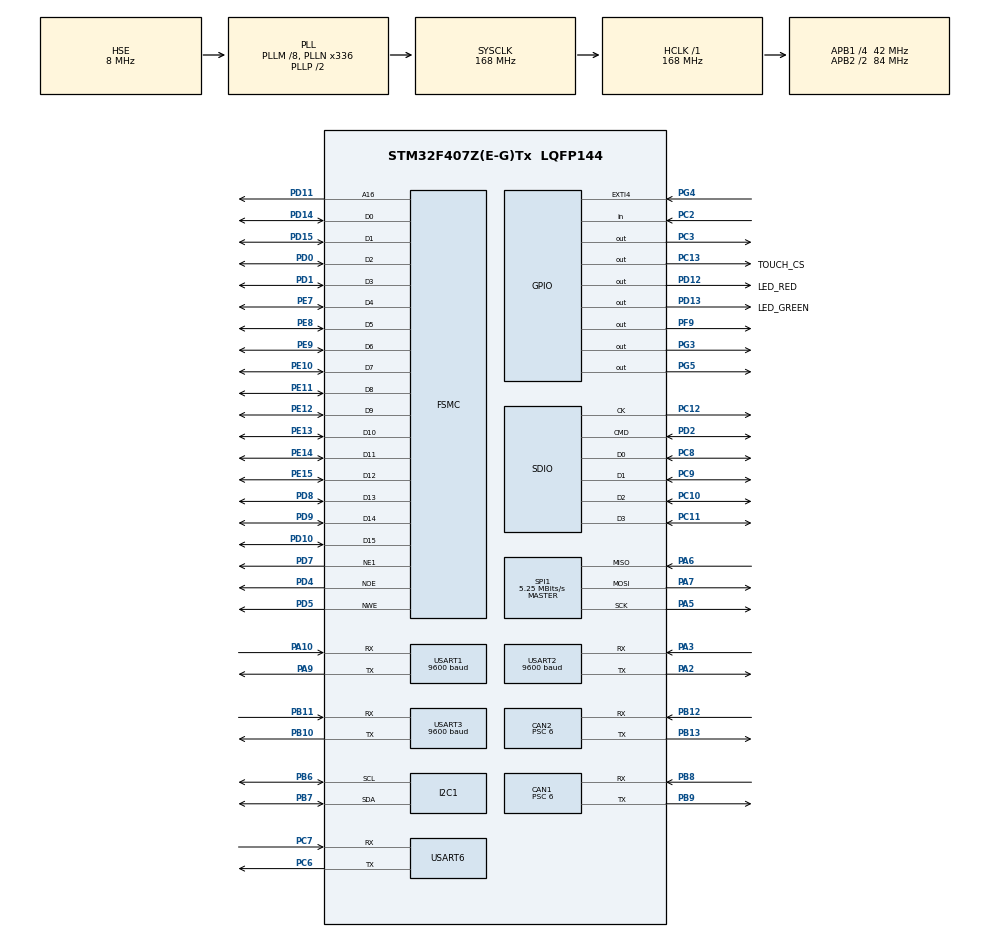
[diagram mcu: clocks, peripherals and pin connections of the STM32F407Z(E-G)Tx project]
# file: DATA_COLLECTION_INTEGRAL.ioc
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CAN1.AWUM=DISABLE
CAN1.BS1=CAN_BS1_12TQ
CAN1.CalculateBaudRate=500000
CAN1.CalculateTimeBit=2000
CAN1.CalculateTimeQuantum=142.85714285714286
CAN1.Prescaler=6
CAN2.AWUM=DISABLE
CAN2.BS1=CAN_BS1_12TQ
CAN2.CalculateBaudRate=500000
CAN2.CalculateTimeBit=2000
CAN2.CalculateTimeQuantum=142.85714285714286
CAN2.Prescaler=6
Dma.Request0=USART1_RX
Dma.Request1=USART1_TX
Dma.Request2=USART3_RX
Dma.Request3=USART3_TX
Dma.Request4=SPI1_RX
Dma.Request5=SPI1_TX
Dma.Request6=SDIO_RX
Dma.Request7=SDIO_TX
Dma.SDIO_RX.6.Direction=DMA_PERIPH_TO_MEMORY
Dma.SDIO_RX.6.FIFOMode=DMA_FIFOMODE_ENABLE
Dma.SDIO_RX.6.FIFOThreshold=DMA_FIFO_THRESHOLD_FULL
Dma.SDIO_RX.6.Instance=DMA2_Stream6
Dma.SDIO_RX.6.MemBurst=DMA_MBURST_INC4
Dma.SDIO_RX.6.MemDataAlignment=DMA_MDATAALIGN_WORD
Dma.SDIO_RX.6.MemInc=DMA_MINC_ENABLE
Dma.SDIO_RX.6.Mode=DMA_PFCTRL
Dma.SDIO_RX.6.PeriphBurst=DMA_PBURST_INC4
Dma.SDIO_RX.6.PeriphDataAlignment=DMA_PDATAALIGN_WORD
Dma.SDIO_RX.6.PeriphInc=DMA_PINC_DISABLE
Dma.SDIO_RX.6.Priority=DMA_PRIORITY_VERY_HIGH
Dma.SDIO_TX.7.Direction=DMA_MEMORY_TO_PERIPH
Dma.SDIO_TX.7.FIFOMode=DMA_FIFOMODE_ENABLE
Dma.SDIO_TX.7.FIFOThreshold=DMA_FIFO_THRESHOLD_FULL
Dma.SDIO_TX.7.Instance=DMA2_Stream3
Dma.SDIO_TX.7.MemBurst=DMA_MBURST_INC4
Dma.SDIO_TX.7.MemDataAlignment=DMA_MDATAALIGN_WORD
Dma.SDIO_TX.7.MemInc=DMA_MINC_ENABLE
Dma.SDIO_TX.7.Mode=DMA_PFCTRL
Dma.SDIO_TX.7.PeriphBurst=DMA_PBURST_INC4
Dma.SDIO_TX.7.PeriphDataAlignment=DMA_PDATAALIGN_WORD
Dma.SDIO_TX.7.PeriphInc=DMA_PINC_DISABLE
Dma.SDIO_TX.7.Priority=DMA_PRIORITY_VERY_HIGH
Dma.SPI1_RX.4.Direction=DMA_PERIPH_TO_MEMORY
Dma.SPI1_RX.4.FIFOMode=DMA_FIFOMODE_DISABLE
Dma.SPI1_RX.4.Instance=DMA2_Stream0
Dma.SPI1_RX.4.MemDataAlignment=DMA_MDATAALIGN_BYTE
Dma.SPI1_RX.4.MemInc=DMA_MINC_ENABLE
Dma.SPI1_RX.4.Mode=DMA_CIRCULAR
Dma.SPI1_RX.4.PeriphDataAlignment=DMA_PDATAALIGN_BYTE
Dma.SPI1_RX.4.PeriphInc=DMA_PINC_DISABLE
Dma.SPI1_RX.4.Priority=DMA_PRIORITY_LOW
Dma.SPI1_TX.5.Direction=DMA_MEMORY_TO_PERIPH
Dma.SPI1_TX.5.FIFOMode=DMA_FIFOMODE_DISABLE
Dma.SPI1_TX.5.Instance=DMA2_Stream5
Dma.SPI1_TX.5.MemDataAlignment=DMA_MDATAALIGN_BYTE
Dma.SPI1_TX.5.MemInc=DMA_MINC_ENABLE
Dma.SPI1_TX.5.Mode=DMA_NORMAL
Dma.SPI1_TX.5.PeriphDataAlignment=DMA_PDATAALIGN_BYTE
Dma.SPI1_TX.5.PeriphInc=DMA_PINC_DISABLE
Dma.SPI1_TX.5.Priority=DMA_PRIORITY_LOW
Dma.USART1_RX.0.Direction=DMA_PERIPH_TO_MEMORY
Dma.USART1_RX.0.FIFOMode=DMA_FIFOMODE_DISABLE
Dma.USART1_RX.0.Instance=DMA2_Stream2
Dma.USART1_RX.0.MemDataAlignment=DMA_MDATAALIGN_BYTE
Dma.USART1_RX.0.MemInc=DMA_MINC_ENABLE
Dma.USART1_RX.0.Mode=DMA_CIRCULAR
Dma.USART1_RX.0.PeriphDataAlignment=DMA_PDATAALIGN_BYTE
Dma.USART1_RX.0.PeriphInc=DMA_PINC_DISABLE
Dma.USART1_RX.0.Priority=DMA_PRIORITY_LOW
Dma.USART1_TX.1.Direction=DMA_MEMORY_TO_PERIPH
Dma.USART1_TX.1.FIFOMode=DMA_FIFOMODE_DISABLE
Dma.USART1_TX.1.Instance=DMA2_Stream7
Dma.USART1_TX.1.MemDataAlignment=DMA_MDATAALIGN_BYTE
Dma.USART1_TX.1.MemInc=DMA_MINC_ENABLE
Dma.USART1_TX.1.Mode=DMA_NORMAL
Dma.USART1_TX.1.PeriphDataAlignment=DMA_PDATAALIGN_BYTE
Dma.USART1_TX.1.PeriphInc=DMA_PINC_DISABLE
Dma.USART1_TX.1.Priority=DMA_PRIORITY_LOW
Dma.USART3_RX.2.Direction=DMA_PERIPH_TO_MEMORY
Dma.USART3_RX.2.FIFOMode=DMA_FIFOMODE_DISABLE
Dma.USART3_RX.2.Instance=DMA1_Stream1
Dma.USART3_RX.2.MemDataAlignment=DMA_MDATAALIGN_BYTE
Dma.USART3_RX.2.MemInc=DMA_MINC_ENABLE
Dma.USART3_RX.2.Mode=DMA_CIRCULAR
Dma.USART3_RX.2.PeriphDataAlignment=DMA_PDATAALIGN_BYTE
Dma.USART3_RX.2.PeriphInc=DMA_PINC_DISABLE
Dma.USART3_RX.2.Priority=DMA_PRIORITY_LOW
Dma.USART3_TX.3.Direction=DMA_MEMORY_TO_PERIPH
Dma.USART3_TX.3.FIFOMode=DMA_FIFOMODE_DISABLE
Dma.USART3_TX.3.Instance=DMA1_Stream3
Dma.USART3_TX.3.MemDataAlignment=DMA_MDATAALIGN_BYTE
Dma.USART3_TX.3.MemInc=DMA_MINC_ENABLE
Dma.USART3_TX.3.Mode=DMA_NORMAL
Dma.USART3_TX.3.PeriphDataAlignment=DMA_PDATAALIGN_BYTE
Dma.USART3_TX.3.PeriphInc=DMA_PINC_DISABLE
Dma.USART3_TX.3.Priority=DMA_PRIORITY_LOW
FREERTOS.Tasks01=defaultTask,24,1024,StartDefaultTask,Default,NULL,Dynamic,NULL,NULL
FREERTOS.configTOTAL_HEAP_SIZE=32768
FREERTOS.configUSE_NEWLIB_REENTRANT=1
FSMC.AddressSetupTime1=15
FSMC.BusTurnAroundDuration1=0
FSMC.DataSetupTime1=60
FSMC.ExtendedAddressSetupTime1=5
FSMC.ExtendedDataSetupTime1=15
FSMC.ExtendedMode1=FSMC_EXTENDED_MODE_ENABLE
Mcu.Family=STM32F4
Mcu.Name=STM32F407Z(E-G)Tx
Mcu.Package=LQFP144
NVIC.CAN1_RX0_IRQn=true\:5\:0\:false\:false\:true\:true\:true\:true\:true
NVIC.CAN1_RX1_IRQn=true\:5\:0\:false\:false\:true\:true\:true\:true\:true
NVIC.CAN1_SCE_IRQn=true\:5\:0\:false\:false\:true\:true\:true\:true\:true
NVIC.CAN2_RX0_IRQn=true\:5\:0\:false\:false\:true\:true\:true\:true\:true
NVIC.CAN2_RX1_IRQn=true\:5\:0\:false\:false\:true\:true\:true\:true\:true
NVIC.CAN2_SCE_IRQn=true\:5\:0\:false\:false\:true\:true\:true\:true\:true
NVIC.DMA1_Stream1_IRQn=true\:5\:0\:false\:false\:true\:true\:false\:true\:true
NVIC.DMA1_Stream3_IRQn=true\:5\:0\:false\:false\:true\:true\:false\:true\:true
NVIC.DMA2_Stream0_IRQn=true\:5\:0\:false\:false\:true\:false\:false\:true\:true
NVIC.DMA2_Stream2_IRQn=true\:5\:0\:false\:false\:true\:true\:false\:true\:true
NVIC.DMA2_Stream3_IRQn=true\:5\:0\:false\:false\:true\:true\:false\:true\:true
NVIC.DMA2_Stream5_IRQn=true\:5\:0\:false\:false\:true\:true\:false\:true\:true
NVIC.DMA2_Stream6_IRQn=true\:5\:0\:false\:false\:true\:true\:false\:true\:true
NVIC.DMA2_Stream7_IRQn=true\:5\:0\:false\:false\:true\:true\:false\:true\:true
NVIC.PriorityGroup=NVIC_PRIORITYGROUP_4
NVIC.TIM8_UP_TIM13_IRQn=true\:15\:0\:false\:false\:true\:false\:false\:true\:true
NVIC.TimeBase=TIM8_UP_TIM13_IRQn
NVIC.TimeBaseIP=TIM8
NVIC.USART1_IRQn=true\:5\:0\:false\:false\:true\:true\:true\:true\:true
NVIC.USART3_IRQn=true\:5\:0\:false\:false\:true\:true\:true\:true\:true
PA10.GPIO_PuPd=GPIO_PULLUP
PA10.Mode=Asynchronous
PA10.Signal=USART1_RX
PA13.Mode=Serial_Wire
PA13.Signal=SYS_JTMS-SWDIO
PA14.Mode=Serial_Wire
PA14.Signal=SYS_JTCK-SWCLK
PA2.Mode=Asynchronous
PA2.Signal=USART2_TX
PA3.Mode=Asynchronous
PA3.Signal=USART2_RX
PA5.Mode=Full_Duplex_Master
PA5.Signal=SPI1_SCK
PA6.GPIO_PuPd=GPIO_PULLUP
PA6.Mode=Full_Duplex_Master
PA6.Signal=SPI1_MISO
PA7.Mode=Full_Duplex_Master
PA7.Signal=SPI1_MOSI
PA9.Mode=Asynchronous
PA9.Signal=USART1_TX
PB10.Mode=Asynchronous
PB10.Signal=USART3_TX
PB11.GPIO_PuPd=GPIO_PULLUP
PB11.Mode=Asynchronous
PB11.Signal=USART3_RX
PB12.GPIO_PuPd=GPIO_PULLUP
PB12.Mode=CAN_Activate
PB12.Signal=CAN2_RX
PB13.GPIO_PuPd=GPIO_PULLUP
PB13.Mode=CAN_Activate
PB13.Signal=CAN2_TX
PB6.GPIO_Pu=GPIO_PULLUP
PB6.Mode=I2C
PB6.Signal=I2C1_SCL
PB7.GPIO_Pu=GPIO_PULLUP
PB7.Mode=I2C
PB7.Signal=I2C1_SDA
PB8.GPIO_PuPd=GPIO_PULLUP
PB8.Mode=CAN_Activate
PB8.Signal=CAN1_RX
PB9.GPIO_PuPd=GPIO_NOPULL
PB9.Mode=CAN_Activate
PB9.Signal=CAN1_TX
PC10.GPIO_PuPd=GPIO_PULLUP
PC10.Mode=SD_4_bits_Wide_bus
PC10.Signal=SDIO_D2
PC11.GPIO_PuPd=GPIO_PULLUP
PC11.Mode=SD_4_bits_Wide_bus
PC11.Signal=SDIO_D3
PC12.GPIO_PuPd=GPIO_PULLUP
PC12.Mode=SD_4_bits_Wide_bus
PC12.Signal=SDIO_CK
PC13-ANTI_TAMP.GPIO_Label=TOUCH_CS
PC13-ANTI_TAMP.Signal=GPIO_Output
PC14-OSC32_IN.Mode=LSE-External-Oscillator
PC14-OSC32_IN.Signal=RCC_OSC32_IN
PC15-OSC32_OUT.Mode=LSE-External-Oscillator
PC15-OSC32_OUT.Signal=RCC_OSC32_OUT
PC2.Signal=GPIO_Input
PC3.Signal=GPIO_Output
PC6.Mode=Asynchronous
PC6.Signal=USART6_TX
PC7.Mode=Asynchronous
PC7.Signal=USART6_RX
PC8.GPIO_PuPd=GPIO_PULLUP
PC8.Mode=SD_4_bits_Wide_bus
PC8.Signal=SDIO_D0
PC9.GPIO_PuPd=GPIO_PULLUP
PC9.Mode=SD_4_bits_Wide_bus
PC9.Signal=SDIO_D1
PD0.Signal=FSMC_D2_DA2
PD1.Signal=FSMC_D3_DA3
PD10.Signal=FSMC_D15_DA15
PD11.Signal=FSMC_A16_CLE
PD12.GPIO_Label=LED_RED
PD12.Signal=GPIO_Output
PD13.GPIO_Label=LED_GREEN
PD13.Signal=GPIO_Output
PD14.Signal=FSMC_D0_DA0
PD15.Signal=FSMC_D1_DA1
PD2.GPIO_PuPd=GPIO_PULLUP
PD2.Mode=SD_4_bits_Wide_bus
PD2.Signal=SDIO_CMD
PD4.Signal=FSMC_NOE
PD5.Signal=FSMC_NWE
PD7.Mode=NorPsramChipSelect1_1
PD7.Signal=FSMC_NE1
PD8.Signal=FSMC_D13_DA13
PD9.Signal=FSMC_D14_DA14
PE10.Signal=FSMC_D7_DA7
PE11.Signal=FSMC_D8_DA8
PE12.Signal=FSMC_D9_DA9
PE13.Signal=FSMC_D10_DA10
PE14.Signal=FSMC_D11_DA11
PE15.Signal=FSMC_D12_DA12
PE7.Signal=FSMC_D4_DA4
PE8.Signal=FSMC_D5_DA5
PE9.Signal=FSMC_D6_DA6
PF9.GPIO_Speed=GPIO_SPEED_FREQ_MEDIUM
PF9.Signal=GPIO_Output
PG3.Signal=GPIO_Output
PG4.GPIO_PuPd=GPIO_PULLDOWN
PG4.Signal=GPXTI4
PG5.Signal=GPIO_Output
PH0-OSC_IN.Mode=HSE-External-Oscillator
PH0-OSC_IN.Signal=RCC_OSC_IN
PH1-OSC_OUT.Mode=HSE-External-Oscillator
PH1-OSC_OUT.Signal=RCC_OSC_OUT
ProjectManager.HeapSize=0x200
ProjectManager.StackSize=0x400
ProjectManager.TargetToolchain=STM32CubeIDE
RCC.48MHZClocksFreq_Value=48000000
RCC.AHBFreq_Value=168000000
RCC.APB1CLKDivider=RCC_HCLK_DIV4
RCC.APB1Freq_Value=42000000
RCC.APB1TimFreq_Value=84000000
RCC.APB2CLKDivider=RCC_HCLK_DIV2
RCC.APB2Freq_Value=84000000
RCC.APB2TimFreq_Value=168000000
RCC.CortexFreq_Value=168000000
RCC.HCLKFreq_Value=168000000
RCC.HSE_VALUE=8000000
RCC.HSI_VALUE=16000000
RCC.PLLM=8
RCC.PLLN=336
RCC.PLLQ=7
RCC.PLLSourceVirtual=RCC_PLLSOURCE_HSE
RCC.RCC_RTC_Clock_Source=RCC_RTCCLKSOURCE_LSE
RCC.RCC_RTC_Clock_SourceVirtual=RCC_RTCCLKSOURCE_LSE
RCC.SYSCLKFreq_VALUE=168000000
RCC.SYSCLKSource=RCC_SYSCLKSOURCE_PLLCLK
RCC.VCOOutputFreq_Value=336000000
SDIO.ClockDiv=5
SH.FSMC_A16_CLE.0=FSMC_A16,A16_1
SH.FSMC_D0_DA0.0=FSMC_D0,16b-d1
SH.FSMC_D10_DA10.0=FSMC_D10,16b-d1
SH.FSMC_D11_DA11.0=FSMC_D11,16b-d1
SH.FSMC_D12_DA12.0=FSMC_D12,16b-d1
SH.FSMC_D13_DA13.0=FSMC_D13,16b-d1
SH.FSMC_D14_DA14.0=FSMC_D14,16b-d1
SH.FSMC_D15_DA15.0=FSMC_D15,16b-d1
SH.FSMC_D1_DA1.0=FSMC_D1,16b-d1
SH.FSMC_D2_DA2.0=FSMC_D2,16b-d1
SH.FSMC_D3_DA3.0=FSMC_D3,16b-d1
SH.FSMC_D4_DA4.0=FSMC_D4,16b-d1
SH.FSMC_D5_DA5.0=FSMC_D5,16b-d1
SH.FSMC_D6_DA6.0=FSMC_D6,16b-d1
SH.FSMC_D7_DA7.0=FSMC_D7,16b-d1
SH.FSMC_D8_DA8.0=FSMC_D8,16b-d1
SH.FSMC_D9_DA9.0=FSMC_D9,16b-d1
SH.FSMC_NOE.0=FSMC_NOE,Lcd1
SH.FSMC_NWE.0=FSMC_NWE,Lcd1
SPI1.BaudRatePrescaler=SPI_BAUDRATEPRESCALER_16
SPI1.CLKPhase=SPI_PHASE_2EDGE
SPI1.CLKPolarity=SPI_POLARITY_HIGH
SPI1.CalculateBaudRate=5.25 MBits/s
SPI1.Direction=SPI_DIRECTION_2LINES
SPI1.Mode=SPI_MODE_MASTER
SPI1.VirtualType=VM_MASTER
USART1.BaudRate=9600
USART1.VirtualMode=VM_ASYNC
USART2.BaudRate=9600
USART2.VirtualMode=VM_ASYNC
USART3.BaudRate=9600
USART3.VirtualMode=VM_ASYNC
USART6.VirtualMode=VM_ASYNC
VP_FATFS_VS_SDIO.Mode=SDIO
VP_FREERTOS_VS_CMSIS_V2.Mode=CMSIS_V2
VP_RTC_VS_RTC_Activate.Mode=RTC_Enabled
VP_SYS_VS_tim8.Mode=TIM8
board=custom

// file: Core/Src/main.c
/* USER CODE BEGIN Header */
/**
  ******************************************************************************
  * @file           : main.c
  * @brief          : Main program body
  ******************************************************************************
  * @attention
  *
  * Copyright (c) 2025 STMicroelectronics.
  * All rights reserved.
  *
  * This software is licensed under terms that can be found in the LICENSE file
  * in the root directory of this software component.
  * If no LICENSE file comes with this software, it is provided AS-IS.
  *
  ******************************************************************************
  */
/* USER CODE END Header */
#include "main.h"
#include "cmsis_os.h"
#include "can.h"
#include "dma.h"
#include "fatfs.h"
#include "i2c.h"
#include "rtc.h"
#include "sdio.h"
#include "spi.h"
#include "usart.h"
#include "gpio.h"
#include "fsmc.h"

/* USER CODE BEGIN Includes */
#include "../lvgl/lvgl.h"
#include "dashboard_ui.h"
#include "sd_log.h"

/* USER CODE END Includes */

/* USER CODE BEGIN PV */
static lv_display_t * g_lvgl_display;
/* Keep the verified 10-line main-SRAM buffer. The attempted 32-line CCMRAM
 * buffer is intentionally not used until its hardware behavior can be tested. */
static uint16_t g_lvgl_draw_buf[800U * 10U];
volatile uint32_t g_lvgl_flush_count;

/* USER CODE END PV */

void SystemClock_Config(void);
void MX_FREERTOS_Init(void);
/* USER CODE BEGIN PFP */
void SSD1963_Init(void);
void LCD_FillColor(uint16_t color);
void LVGL_Port_Init(void);
void LED_Diag_SetBootStage(uint8_t stage);

/* USER CODE END PFP */

/* USER CODE BEGIN 0 */
#if BOARD_BRINGUP_MINIMAL
#define MX_DMA_Init() ((void)0)
#define MX_CAN1_Init() ((void)0)
#define MX_CAN2_Init() ((void)0)
#define MX_RTC_Init() ((void)0)
#define MX_SPI1_Init() ((void)0)
#define MX_USART1_UART_Init() ((void)0)
#define MX_USART3_UART_Init() ((void)0)
#define MX_FATFS_Init() ((void)0)
#define MX_FSMC_Init() ((void)0)
#define MX_USART2_UART_Init() ((void)0)
#define MX_SDIO_SD_Init() ((void)0)
#define osKernelInitialize() ((void)0)
#define MX_FREERTOS_Init() ((void)0)
#define osKernelStart() ((void)0)

static void BoardBringup_MinimalInit(void)
{
  HAL_GPIO_WritePin(GPIOD, LED_RED_Pin, GPIO_PIN_RESET);
  HAL_GPIO_WritePin(GPIOD, LED_GREEN_Pin, GPIO_PIN_SET);
}

static void BoardBringup_MinimalLoop(void)
{
  static uint8_t led_phase = 0U;

  if(led_phase == 0U) {
    HAL_GPIO_WritePin(GPIOD, LED_RED_Pin, GPIO_PIN_SET);
    HAL_GPIO_WritePin(GPIOD, LED_GREEN_Pin, GPIO_PIN_RESET);
  }
  else {
    HAL_GPIO_WritePin(GPIOD, LED_RED_Pin, GPIO_PIN_RESET);
    HAL_GPIO_WritePin(GPIOD, LED_GREEN_Pin, GPIO_PIN_SET);
  }

  led_phase ^= 1U;
  HAL_Delay(200);
}
#endif

#define LCD_HOR_RES 800
#define LCD_VER_RES 480

// 1. 基础读写宏 (保持 A17 逻辑)
#define LCD_REG  *(__IO uint16_t *)(0x60000000)
#define LCD_DATA *(__IO uint16_t *)(0x60020000)

static void LCD_SetAddressWindow(uint16_t x1, uint16_t y1, uint16_t x2, uint16_t y2)
{
  LCD_REG = 0x2A;
  LCD_DATA = x1 >> 8;
  LCD_DATA = x1 & 0xFF;
  LCD_DATA = x2 >> 8;
  LCD_DATA = x2 & 0xFF;

  LCD_REG = 0x2B;
  LCD_DATA = y1 >> 8;
  LCD_DATA = y1 & 0xFF;
  LCD_DATA = y2 >> 8;
  LCD_DATA = y2 & 0xFF;

  LCD_REG = 0x2C;
}

/* The Debug configuration builds at -O0. Keep the hot FSMC pixel loop locally
 * optimized so UI refresh bandwidth does not depend on the IDE build profile. */
static void __attribute__((optimize("O3")))
LCD_WritePixels(const uint16_t * colors, uint32_t pixel_count)
{
  while(pixel_count >= 8U) {
    LCD_DATA = *colors++;
    LCD_DATA = *colors++;
    LCD_DATA = *colors++;
    LCD_DATA = *colors++;
    LCD_DATA = *colors++;
    LCD_DATA = *colors++;
    LCD_DATA = *colors++;
    LCD_DATA = *colors++;
    pixel_count -= 8U;
  }
  while(pixel_count > 0U) {
    LCD_DATA = *colors++;
    pixel_count--;
  }
}

static void LCD_Backlight_SetEnabled(uint8_t enabled)
{
  HAL_GPIO_WritePin(GPIOF, GPIO_PIN_9,
                   (enabled != 0U) ? GPIO_PIN_SET : GPIO_PIN_RESET);
}

static void LCD_Backlight_On(void)
{
  LCD_Backlight_SetEnabled(1U);
}

static void LCD_Backlight_Off(void)
{
  LCD_Backlight_SetEnabled(0U);
}

static void SSD1963_Reset_Assert(void)
{
  HAL_GPIO_WritePin(SSD1963_RST_GPIO_Port, SSD1963_RST_Pin, GPIO_PIN_RESET);
}

static void SSD1963_Reset_Release(void)
{
  HAL_GPIO_WritePin(SSD1963_RST_GPIO_Port, SSD1963_RST_Pin, GPIO_PIN_SET);
}

static void SSD1963_HardReset(void)
{
  SSD1963_Reset_Assert();
  HAL_Delay(10);
  SSD1963_Reset_Release();
  HAL_Delay(60);
}

void LED_Diag_SetBootStage(uint8_t stage)
{
  switch(stage) {
    case 0:
      HAL_GPIO_WritePin(GPIOD, LED_RED_Pin, GPIO_PIN_SET);
      HAL_GPIO_WritePin(GPIOD, LED_GREEN_Pin, GPIO_PIN_RESET);
      break;

    case 1:
      HAL_GPIO_WritePin(GPIOD, LED_RED_Pin, GPIO_PIN_SET);
      HAL_GPIO_WritePin(GPIOD, LED_GREEN_Pin, GPIO_PIN_SET);
      break;

    case 2:
      HAL_GPIO_WritePin(GPIOD, LED_RED_Pin, GPIO_PIN_RESET);
      HAL_GPIO_WritePin(GPIOD, LED_GREEN_Pin, GPIO_PIN_SET);
      break;

    /* Stages 3/4 come from Dashboard_UI_Init (see dashboard_ui.c). The LED
     * vocabulary has only four patterns, so 3 repeats stage 0 and 4 repeats
     * stage 1; the boot order disambiguates them. */
    case 3: /* UI init running, night icon not yet created */
      HAL_GPIO_WritePin(GPIOD, LED_RED_Pin, GPIO_PIN_SET);
      HAL_GPIO_WritePin(GPIOD, LED_GREEN_Pin, GPIO_PIN_RESET);
      break;

    case 4: /* UI init past the night-icon allocation */
      HAL_GPIO_WritePin(GPIOD, LED_RED_Pin, GPIO_PIN_SET);
      HAL_GPIO_WritePin(GPIOD, LED_GREEN_Pin, GPIO_PIN_SET);
      break;

    case 5: /* UI init fully complete (pool + backlight done) */
      HAL_GPIO_WritePin(GPIOD, LED_RED_Pin, GPIO_PIN_RESET);
      HAL_GPIO_WritePin(GPIOD, LED_GREEN_Pin, GPIO_PIN_RESET);
      break;

    default:
      HAL_GPIO_WritePin(GPIOD, LED_RED_Pin, GPIO_PIN_RESET);
      HAL_GPIO_WritePin(GPIOD, LED_GREEN_Pin, GPIO_PIN_RESET);
      break;
  }
}

static void lvgl_flush_cb(lv_display_t * disp, const lv_area_t * area, uint8_t * px_map)
{
  uint32_t width = (uint32_t)(area->x2 - area->x1 + 1);
  uint32_t height = (uint32_t)(area->y2 - area->y1 + 1);

  LCD_SetAddressWindow((uint16_t)area->x1, (uint16_t)area->y1, (uint16_t)area->x2, (uint16_t)area->y2);
  LCD_WritePixels((const uint16_t *)px_map, width * height);
  g_lvgl_flush_count++;
  lv_display_flush_ready(disp);
}

void LVGL_Port_Init(void)
{
  lv_init();
  lv_tick_set_cb(HAL_GetTick);

  g_lvgl_display = lv_display_create(LCD_HOR_RES, LCD_VER_RES);
  lv_display_set_color_format(g_lvgl_display, LV_COLOR_FORMAT_RGB565);
  lv_display_set_flush_cb(g_lvgl_display, lvgl_flush_cb);
  lv_display_set_buffers(g_lvgl_display,
               g_lvgl_draw_buf,
               NULL,
               sizeof(g_lvgl_draw_buf),
               LV_DISPLAY_RENDER_MODE_PARTIAL);

  Dashboard_UI_Init();
  lv_refr_now(g_lvgl_display);
  LED_Diag_SetBootStage(2);
}

// 2. 商家标准的 SSD1963 初始化序列
void SSD1963_Init(void) {
    HAL_Delay(10);

    LCD_REG = 0x01;
    HAL_Delay(10);

    LCD_REG = 0xE2;
    LCD_DATA = 0x1D; // N=29
    LCD_DATA = 0x02; // M=2
    LCD_DATA = 0x04;

    LCD_REG = 0xE0;
    LCD_DATA = 0x01;
    HAL_Delay(10);
    LCD_REG = 0xE0;
    LCD_DATA = 0x03;
    HAL_Delay(12);

    LCD_REG = 0x01;
    HAL_Delay(10);

    LCD_REG = 0xE6;
    LCD_DATA = 0x03;
    LCD_DATA = 0xFF;
    LCD_DATA = 0xFF;

    LCD_REG = 0xB0;
    LCD_DATA = 0x20;
    LCD_DATA = 0x00;
    LCD_DATA = (800-1)>>8;
    LCD_DATA = 800-1;
    LCD_DATA = (480-1)>>8;
    LCD_DATA = 480-1;
    LCD_DATA = 0x00;

    LCD_REG = 0xB4;
    LCD_DATA = (1056-1)>>8;
    LCD_DATA = 1056-1;
    LCD_DATA = 46>>8;
    LCD_DATA = 46;
    LCD_DATA = 1-1;
    LCD_DATA = 0x00; LCD_DATA = 0x00; LCD_DATA = 0x00;

    LCD_REG = 0xB6;
    LCD_DATA = (525-1)>>8;
    LCD_DATA = 525-1;
    LCD_DATA = 23>>8;
    LCD_DATA = 23;
    LCD_DATA = 22-1;
    LCD_DATA = 0x00; LCD_DATA = 0x00;

    LCD_REG = 0xF0;
    LCD_DATA = 0x03;

    LCD_REG = 0x29;
    HAL_Delay(10);

    LCD_REG = 0xD0;
    LCD_DATA = 0x00;

    /* Keep the module's existing SSD1963 PWM setup. The current PCB uses PF9
     * as a binary backlight enable. */
    LCD_REG = 0xBE;
    LCD_DATA = 0x05;
    LCD_DATA = 0xFE;
    LCD_DATA = 0x01;
    LCD_DATA = 0x00;
    LCD_DATA = 0x00;
    LCD_DATA = 0x00;
}

// 3. 读取 ID 测试函数 (用于诊断)
uint16_t SSD1963_ReadID(void) {
    uint16_t id = 0;
    LCD_REG = 0xA1;
    LCD_DATA; // 丢弃第一个哑读 (SSD1963 特性)
    id = LCD_DATA << 8;
    id |= (LCD_DATA & 0xFF);
    return id; // 预期返回值应包含 0x196 关键词
}

void LCD_FillColor(uint16_t color)
{
    uint32_t i;

  LCD_SetAddressWindow(0, 0, LCD_HOR_RES - 1, LCD_VER_RES - 1);
  for (i = 0; i < ((uint32_t)LCD_HOR_RES * LCD_VER_RES); i++)
    {
        LCD_DATA = color;
    }
}
/* USER CODE END 0 */

int main(void)
{

  /* MCU Configuration--------------------------------------------------------*/

  /* Reset of all peripherals, Initializes the Flash interface and the Systick. */
  HAL_Init();

  /* Configure the system clock */
  SystemClock_Config();

  /* Initialize all configured peripherals */
  MX_GPIO_Init();
  MX_DMA_Init();
  MX_CAN1_Init();
  MX_CAN2_Init();
  MX_RTC_Init();
  MX_SPI1_Init();
  MX_USART1_UART_Init();
  MX_USART3_UART_Init();
  MX_SDIO_SD_Init();
  MX_FATFS_Init();
  MX_FSMC_Init();
  MX_USART2_UART_Init();
  MX_I2C1_Init();
  MX_USART6_UART_Init();
  /* USER CODE BEGIN 2 */
#if BOARD_BRINGUP_MINIMAL
  BoardBringup_MinimalInit();
#else
  CAN1_Filter_Config();
  if(HAL_CAN_Start(&hcan1) != HAL_OK) {
    Error_Handler();
  }
  if(HAL_CAN_ActivateNotification(&hcan1,
                                  CAN_IT_RX_FIFO0_MSG_PENDING |
                                  CAN_IT_RX_FIFO1_MSG_PENDING |
                                  CAN_IT_TX_MAILBOX_EMPTY) != HAL_OK) {
    Error_Handler();
  }

  /* CAN2 = steering wheel bus. RX only; received frames are relayed to CAN1. */
  CAN2_Filter_Config();
  if(HAL_CAN_Start(&hcan2) != HAL_OK) {
    Error_Handler();
  }
  if(HAL_CAN_ActivateNotification(&hcan2, CAN_IT_RX_FIFO0_MSG_PENDING) != HAL_OK) {
    Error_Handler();
  }

  LCD_Backlight_Off();
  SSD1963_Reset_Assert();
  LED_Diag_SetBootStage(0);

  HAL_Delay(50);

  SSD1963_HardReset();
  SSD1963_Init();
  LED_Diag_SetBootStage(1);
  LVGL_Port_Init();
  HAL_Delay(10);
  LCD_Backlight_On();
#endif
  /* USER CODE END 2 */

  /* Init scheduler */
  osKernelInitialize();  /* Call init function for freertos objects (in cmsis_os2.c) */
  MX_FREERTOS_Init();

  /* Start scheduler */
  osKernelStart();

  /* We should never get here as control is now taken by the scheduler */

  /* Infinite loop */
  while (1)
  {

    /* USER CODE BEGIN 3 */
#if BOARD_BRINGUP_MINIMAL
    BoardBringup_MinimalLoop();
#endif
  }
  /* USER CODE END 3 */
}

void SystemClock_Config(void)
{
  RCC_OscInitTypeDef RCC_OscInitStruct = {0};
  RCC_ClkInitTypeDef RCC_ClkInitStruct = {0};

  /** Configure the main internal regulator output voltage
  */
  __HAL_RCC_PWR_CLK_ENABLE();
  __HAL_PWR_VOLTAGESCALING_CONFIG(PWR_REGULATOR_VOLTAGE_SCALE1);

  /** Initializes the RCC Oscillators according to the specified parameters
  * in the RCC_OscInitTypeDef structure.
  */
  RCC_OscInitStruct.OscillatorType = RCC_OSCILLATORTYPE_HSE|RCC_OSCILLATORTYPE_LSE;
  RCC_OscInitStruct.HSEState = RCC_HSE_ON;
  RCC_OscInitStruct.LSEState = RCC_LSE_ON;
  RCC_OscInitStruct.PLL.PLLState = RCC_PLL_ON;
  RCC_OscInitStruct.PLL.PLLSource = RCC_PLLSOURCE_HSE;
  RCC_OscInitStruct.PLL.PLLM = 8;
  RCC_OscInitStruct.PLL.PLLN = 336;
  RCC_OscInitStruct.PLL.PLLP = RCC_PLLP_DIV2;
  RCC_OscInitStruct.PLL.PLLQ = 7;
  if (HAL_RCC_OscConfig(&RCC_OscInitStruct) != HAL_OK)
  {
    Error_Handler();
  }

  /** Initializes the CPU, AHB and APB buses clocks
  */
  RCC_ClkInitStruct.ClockType = RCC_CLOCKTYPE_HCLK|RCC_CLOCKTYPE_SYSCLK
                              |RCC_CLOCKTYPE_PCLK1|RCC_CLOCKTYPE_PCLK2;
  RCC_ClkInitStruct.SYSCLKSource = RCC_SYSCLKSOURCE_PLLCLK;
  RCC_ClkInitStruct.AHBCLKDivider = RCC_SYSCLK_DIV1;
  RCC_ClkInitStruct.APB1CLKDivider = RCC_HCLK_DIV4;
  RCC_ClkInitStruct.APB2CLKDivider = RCC_HCLK_DIV2;

  if (HAL_RCC_ClockConfig(&RCC_ClkInitStruct, FLASH_LATENCY_5) != HAL_OK)
  {
    Error_Handler();
  }
}

void HAL_TIM_PeriodElapsedCallback(TIM_HandleTypeDef *htim)
{
  if (htim->Instance == TIM8)
  {
    HAL_IncTick();
  }
}

void Error_Handler(void)
{
  __disable_irq();
  while (1)
  {
  }
}

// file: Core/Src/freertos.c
/* USER CODE BEGIN Header */
/**
  ******************************************************************************
  * File Name          : freertos.c
  * Description        : Code for freertos applications
  ******************************************************************************
  * @attention
  *
  * Copyright (c) 2026 STMicroelectronics.
  * All rights reserved.
  *
  * This software is licensed under terms that can be found in the LICENSE file
  * in the root directory of this software component.
  * If no LICENSE file comes with this software, it is provided AS-IS.
  *
  ******************************************************************************
  */
/* USER CODE END Header */

#include "FreeRTOS.h"
#include "task.h"
#include "main.h"
#include "cmsis_os.h"

/* USER CODE BEGIN Includes */
#include "cmsis_os2.h"
#include "can.h"
#include "dashboard_ui.h"
#include "../lvgl/lvgl.h"
#include "touch.h"
#include "gps.h"
#include "sd_log.h"

extern void LCD_FillColor(uint16_t color);
extern volatile uint32_t g_lvgl_flush_count;
/* USER CODE END Includes */

/* USER CODE BEGIN Variables */

#define DASHBOARD_TASK_STACK_WORDS 2048U

static StaticTask_t g_dashboard_task_control;
static StackType_t g_dashboard_task_stack[DASHBOARD_TASK_STACK_WORDS];
static TaskHandle_t g_dashboard_task_handle;

volatile uint32_t g_freertos_fault_code;
volatile const char * g_freertos_fault_task_name;

osThreadId_t touchTaskHandle;
const osThreadAttr_t touchTask_attributes = {
  .name = "touchTask",
  .stack_size = 1024 * 4,
  .priority = (osPriority_t) osPriorityNormal,
};

/* USER CODE END Variables */
/* Definitions for defaultTask */
osThreadId_t defaultTaskHandle;
const osThreadAttr_t defaultTask_attributes = {
  .name = "defaultTask",
  .stack_size = 1024 * 4,
  .priority = (osPriority_t) osPriorityNormal,
};

/* USER CODE BEGIN FunctionPrototypes */

static void Dashboard_ServiceTask(void * argument);

/* USER CODE END FunctionPrototypes */

void StartDefaultTask(void *argument);

void MX_FREERTOS_Init(void); /* (MISRA C 2004 rule 8.1) */

void MX_FREERTOS_Init(void) {

  /* Create the thread(s) */
  /* creation of defaultTask */
  defaultTaskHandle = osThreadNew(StartDefaultTask, NULL, &defaultTask_attributes);

  /* USER CODE BEGIN RTOS_THREADS */
  /* creation of touchTask */
  touchTaskHandle = osThreadNew(Touch_ServiceTask, NULL, &touchTask_attributes);
  GPS_Init();
  /* USER CODE END RTOS_THREADS */

}

void StartDefaultTask(void *argument)
{
  /* USER CODE BEGIN StartDefaultTask */
  (void)argument;

  /* The generated 4 KiB default task is only a bootstrap. LVGL rendering now
   * uses a dedicated 8 KiB static stack so a downward stack overflow cannot
   * overwrite the FreeRTOS timer queue placed immediately below ucHeap. */
  g_dashboard_task_handle = xTaskCreateStatic(Dashboard_ServiceTask,
                                               "Dashboard",
                                               DASHBOARD_TASK_STACK_WORDS,
                                               NULL,
                                               (UBaseType_t)osPriorityNormal,
                                               g_dashboard_task_stack,
                                               &g_dashboard_task_control);
  if(g_dashboard_task_handle == NULL) {
    taskDISABLE_INTERRUPTS();
    g_freertos_fault_code = 4U;
    g_freertos_fault_task_name = "Dashboard";
    HAL_GPIO_WritePin(LED_RED_GPIO_Port, LED_RED_Pin, GPIO_PIN_SET);
    HAL_GPIO_WritePin(LED_GREEN_GPIO_Port, LED_GREEN_Pin, GPIO_PIN_SET);
    for(;;) { }
  }

  /* Exercise mount/write/sync once after the scheduler starts. The exported
   * g_sd_diag_* values identify the exact failing layer in a debugger. */
  SD_Log_InitAndWrite(Dashboard_UI_GetCurrentData());

  vTaskDelete(NULL);
  /* Execution must not continue after deleting the bootstrap task. */
  for(;;) { }
  /* USER CODE END StartDefaultTask */
}

/* USER CODE BEGIN Application */

static void Dashboard_ServiceTask(void * argument)
{
  uint32_t delay_ms;
  uint32_t last_heartbeat_tick = 0U;
  uint32_t last_flush_count = 0U;
  uint32_t last_can_heartbeat_tick = 0U;

  (void)argument;

  for(;;)
  {
    Dashboard_UI_Process();
    if(Dashboard_UI_IsStartupComplete() != 0U) {
      Touch_Process();
    }
    delay_ms = lv_timer_handler();

    if((Dashboard_UI_IsStartupComplete() != 0U) &&
       ((HAL_GetTick() - last_heartbeat_tick) >= 250U)) {
      last_heartbeat_tick = HAL_GetTick();
      HAL_GPIO_TogglePin(GPIOD, LED_GREEN_Pin);
    }

    if((Dashboard_UI_IsStartupComplete() != 0U) &&
       ((HAL_GetTick() - last_can_heartbeat_tick) >= 500U)) {
      last_can_heartbeat_tick = HAL_GetTick();
      CAN1_SendHeartbeat();
    }

    if(g_lvgl_flush_count != last_flush_count) {
      last_flush_count = g_lvgl_flush_count;
    }

    if(delay_ms < 5U) {
      delay_ms = 5U;
    }
    if(delay_ms > 20U) {
      delay_ms = 20U;
    }
    if((Dashboard_UI_IsStartupComplete() == 0U) && (delay_ms > 16U)) {
      delay_ms = 16U;
    }

    osDelay(delay_ms);
  }
}

void Fault_Diagnostic_Assert(void)
{
  g_freertos_fault_code = 1U;
  g_freertos_fault_task_name = "configASSERT";
  /* Both LEDs solid identifies a FreeRTOS configASSERT.  CPU fault handlers
   * use red solid / green off instead. */
  HAL_GPIO_WritePin(LED_RED_GPIO_Port, LED_RED_Pin, GPIO_PIN_SET);
  HAL_GPIO_WritePin(LED_GREEN_GPIO_Port, LED_GREEN_Pin, GPIO_PIN_SET);
}

void vApplicationStackOverflowHook(TaskHandle_t task, char * task_name)
{
  (void)task;
  taskDISABLE_INTERRUPTS();
  g_freertos_fault_code = 2U;
  g_freertos_fault_task_name = task_name;
  HAL_GPIO_WritePin(LED_RED_GPIO_Port, LED_RED_Pin, GPIO_PIN_SET);
  HAL_GPIO_WritePin(LED_GREEN_GPIO_Port, LED_GREEN_Pin, GPIO_PIN_RESET);
  for(;;) { }
}

void vApplicationMallocFailedHook(void)
{
  taskDISABLE_INTERRUPTS();
  g_freertos_fault_code = 3U;
  g_freertos_fault_task_name = "FreeRTOS heap";
  HAL_GPIO_WritePin(LED_RED_GPIO_Port, LED_RED_Pin, GPIO_PIN_RESET);
  HAL_GPIO_WritePin(LED_GREEN_GPIO_Port, LED_GREEN_Pin, GPIO_PIN_SET);
  for(;;) { }
}

/* USER CODE END Application */
